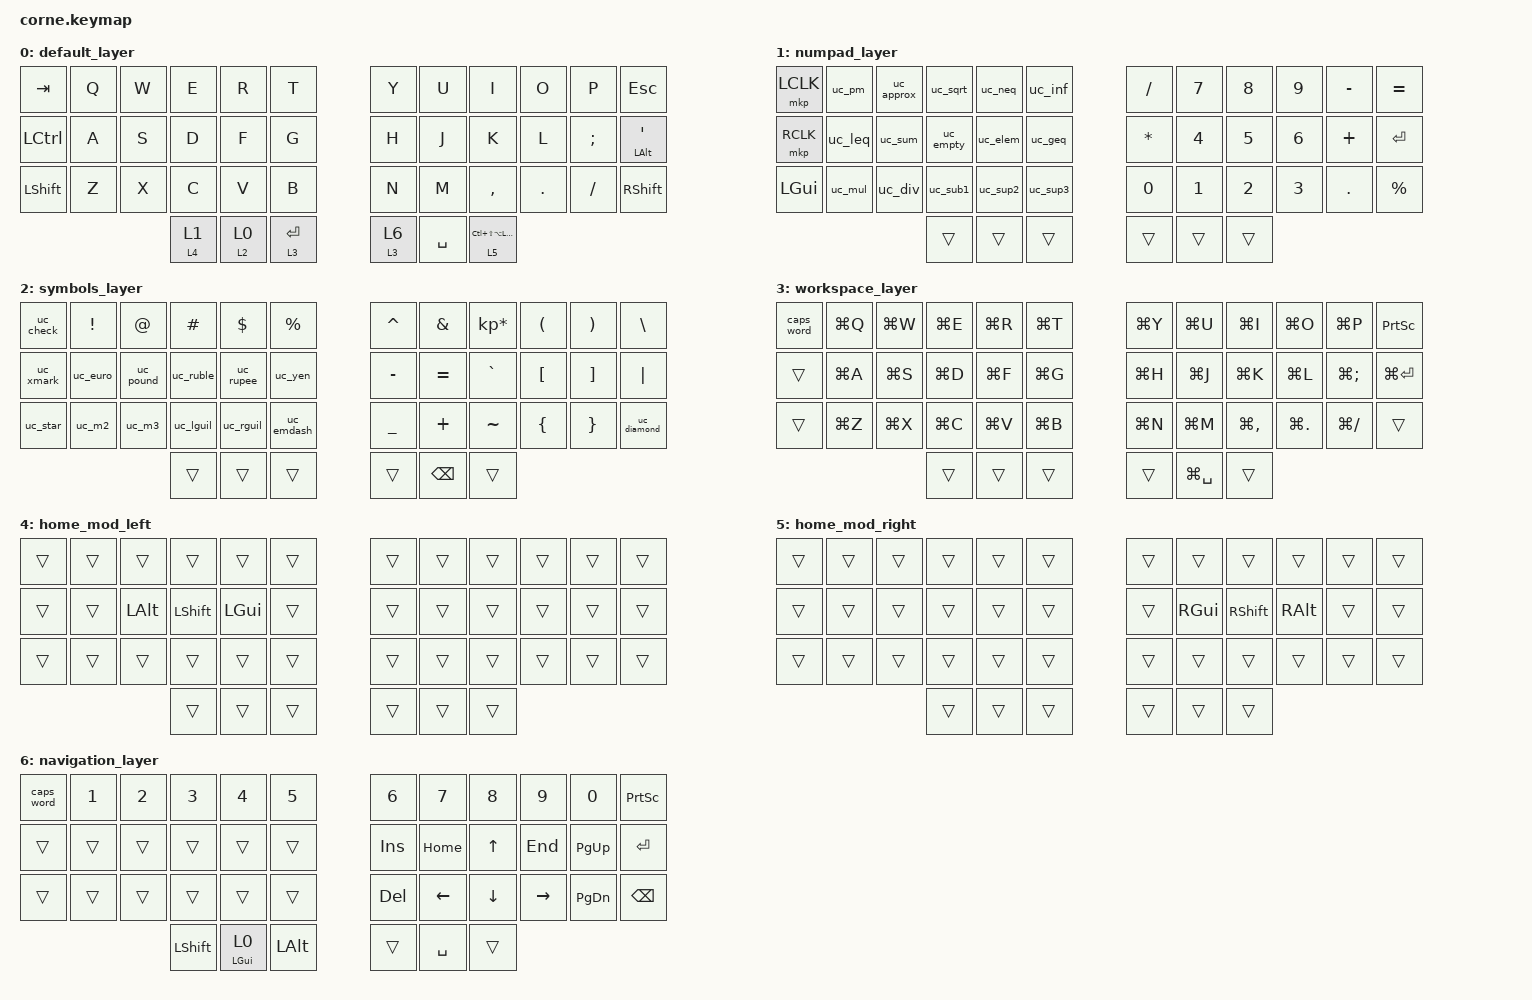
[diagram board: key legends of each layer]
/*
 * Copyright (c) 2020 The ZMK Contributors
 *
 * SPDX-License-Identifier: MIT
 */

#include <behaviors.dtsi>
#include <dt-bindings/zmk/keys.h>
#include <dt-bindings/zmk/pointing.h>

/ {
        behaviors {
          tp: tap_preferred {
            compatible = "zmk,behavior-hold-tap";
            label = "TAP_PREFERRED";
            #binding-cells = <2>;
            tapping-term-ms = <280>;
            flavor = "hold-preferred";
            bindings = <&kp>, <&kp>;
          };

          hm: homerow_mods {
            compatible = "zmk,behavior-hold-tap";
            label = "HOMEROW_MODS";
            #binding-cells = <2>;
            tapping-term-ms = <280>;
            quick-tap-ms = <175>;
            require-prior-idle-ms = <150>;
            flavor = "balanced";
            bindings = <&kp>, <&kp>;
          };

          lt_rev: layer_tap_reversed {
            compatible = "zmk,behavior-hold-tap";
            label = "LAYER_TAP_REVERSED";
            #binding-cells = <2>;
            tapping-term-ms = <280>;
            flavor = "hold-preferred";
            bindings = <&kp>, <&to>;  // hold=key, tap=toggle to layer
          };

          td_base: tap_dance_base {
            compatible = "zmk,behavior-hold-tap";
            label = "TAP_TO_BASE";
            #binding-cells = <2>;
            tapping-term-ms = <200>;
            flavor = "balanced";
            bindings = <&mo>, <&to>;  // hold=mo layer, tap=to layer
          };

          // Hold=Workspace layer, Tap=Sticky Hyper
          ht_ws_hyper: hold_ws_tap_hyper {
            compatible = "zmk,behavior-hold-tap";
            label = "HOLD_WS_TAP_HYPER";
            #binding-cells = <2>;
            tapping-term-ms = <200>;
            flavor = "balanced";
            bindings = <&mo>, <&sk>;
          };

          // Hold=home_mod layer, Tap=to layer (for outer thumbs)
          ht_hm_to: hold_homemod_tap_to {
            compatible = "zmk,behavior-hold-tap";
            label = "HOLD_HOMEMOD_TAP_TO";
            #binding-cells = <2>;
            tapping-term-ms = <200>;
            flavor = "balanced";
            bindings = <&mo>, <&to>;
          };

          // Hold=home_mod layer, Tap=sticky key (for right outer thumb)
          ht_hm_sk: hold_homemod_tap_sk {
            compatible = "zmk,behavior-hold-tap";
            label = "HOLD_HOMEMOD_TAP_SK";
            #binding-cells = <2>;
            tapping-term-ms = <200>;
            flavor = "balanced";
            bindings = <&mo>, <&sk>;
          };

          // Hold=Workspace layer, Tap=Toggle NAV
          ht_ws_nav: hold_ws_tap_nav {
            compatible = "zmk,behavior-hold-tap";
            label = "HOLD_WS_TAP_NAV";
            #binding-cells = <2>;
            tapping-term-ms = <200>;
            flavor = "balanced";
            bindings = <&mo>, <&tog>;
          };

          // Hold=number, Tap=letter (for workspace layer top row)
          ht_num: hold_number_tap_letter {
            compatible = "zmk,behavior-hold-tap";
            label = "HOLD_NUM_TAP_LETTER";
            #binding-cells = <2>;
            tapping-term-ms = <250>;
            flavor = "tap-preferred";
            bindings = <&kp>, <&kp>;  // hold=first param (number), tap=second param (letter)
          };

        };

        macros {
          ws1: workspace_1 {
            compatible = "zmk,behavior-macro";
            #binding-cells = <0>;
            bindings = <&macro_press &kp LGUI>
                     , <&macro_tap &kp N1>
                     , <&macro_release &kp LGUI>;
          };
          ws2: workspace_2 {
            compatible = "zmk,behavior-macro";
            #binding-cells = <0>;
            bindings = <&macro_press &kp LGUI>
                     , <&macro_tap &kp N2>
                     , <&macro_release &kp LGUI>;
          };
          ws3: workspace_3 {
            compatible = "zmk,behavior-macro";
            #binding-cells = <0>;
            bindings = <&macro_press &kp LGUI>
                     , <&macro_tap &kp N3>
                     , <&macro_release &kp LGUI>;
          };
          ws4: workspace_4 {
            compatible = "zmk,behavior-macro";
            #binding-cells = <0>;
            bindings = <&macro_press &kp LGUI>
                     , <&macro_tap &kp N4>
                     , <&macro_release &kp LGUI>;
          };
          ws5: workspace_5 {
            compatible = "zmk,behavior-macro";
            #binding-cells = <0>;
            bindings = <&macro_press &kp LGUI>
                     , <&macro_tap &kp N5>
                     , <&macro_release &kp LGUI>;
          };
          ws6: workspace_6 {
            compatible = "zmk,behavior-macro";
            #binding-cells = <0>;
            bindings = <&macro_press &kp LGUI>
                     , <&macro_tap &kp N6>
                     , <&macro_release &kp LGUI>;
          };
          ws7: workspace_7 {
            compatible = "zmk,behavior-macro";
            #binding-cells = <0>;
            bindings = <&macro_press &kp LGUI>
                     , <&macro_tap &kp N7>
                     , <&macro_release &kp LGUI>;
          };
          ws8: workspace_8 {
            compatible = "zmk,behavior-macro";
            #binding-cells = <0>;
            bindings = <&macro_press &kp LGUI>
                     , <&macro_tap &kp N8>
                     , <&macro_release &kp LGUI>;
          };
          ws9: workspace_9 {
            compatible = "zmk,behavior-macro";
            #binding-cells = <0>;
            bindings = <&macro_press &kp LGUI>
                     , <&macro_tap &kp N9>
                     , <&macro_release &kp LGUI>;
          };
          ws0: workspace_0 {
            compatible = "zmk,behavior-macro";
            #binding-cells = <0>;
            bindings = <&macro_press &kp LGUI>
                     , <&macro_tap &kp N0>
                     , <&macro_release &kp LGUI>;
          };

          // Unicode macros (Ctrl+Shift+U + hex + Space) for Linux
          // Math symbols for numpad layer
          uc_pm: unicode_plusminus { // ±
            compatible = "zmk,behavior-macro";
            #binding-cells = <0>;
            wait-ms = <30>;
            tap-ms = <30>;
            bindings = <&macro_tap &kp LC(LS(U)) &kp N0 &kp N0 &kp B &kp N1 &kp SPACE>;
          };
          uc_approx: unicode_approx { // ≈
            compatible = "zmk,behavior-macro";
            #binding-cells = <0>;
            wait-ms = <30>;
            tap-ms = <30>;
            bindings = <&macro_tap &kp LC(LS(U)) &kp N2 &kp N2 &kp N4 &kp N8 &kp SPACE>;
          };
          uc_neq: unicode_notequal { // ≠
            compatible = "zmk,behavior-macro";
            #binding-cells = <0>;
            wait-ms = <30>;
            tap-ms = <30>;
            bindings = <&macro_tap &kp LC(LS(U)) &kp N2 &kp N2 &kp N6 &kp N0 &kp SPACE>;
          };
          uc_inf: unicode_infinity { // ∞
            compatible = "zmk,behavior-macro";
            #binding-cells = <0>;
            wait-ms = <30>;
            tap-ms = <30>;
            bindings = <&macro_tap &kp LC(LS(U)) &kp N2 &kp N2 &kp N1 &kp E &kp SPACE>;
          };
          uc_leq: unicode_lessequal { // ≤
            compatible = "zmk,behavior-macro";
            #binding-cells = <0>;
            wait-ms = <30>;
            tap-ms = <30>;
            bindings = <&macro_tap &kp LC(LS(U)) &kp N2 &kp N2 &kp N6 &kp N4 &kp SPACE>;
          };
          uc_geq: unicode_greaterequal { // ≥
            compatible = "zmk,behavior-macro";
            #binding-cells = <0>;
            wait-ms = <30>;
            tap-ms = <30>;
            bindings = <&macro_tap &kp LC(LS(U)) &kp N2 &kp N2 &kp N6 &kp N5 &kp SPACE>;
          };
          uc_mul: unicode_multiply { // ×
            compatible = "zmk,behavior-macro";
            #binding-cells = <0>;
            wait-ms = <30>;
            tap-ms = <30>;
            bindings = <&macro_tap &kp LC(LS(U)) &kp N0 &kp N0 &kp D &kp N7 &kp SPACE>;
          };
          uc_div: unicode_divide { // ÷
            compatible = "zmk,behavior-macro";
            #binding-cells = <0>;
            wait-ms = <30>;
            tap-ms = <30>;
            bindings = <&macro_tap &kp LC(LS(U)) &kp N0 &kp N0 &kp F &kp N7 &kp SPACE>;
          };
          uc_sub1: unicode_subscript1 { // ₁
            compatible = "zmk,behavior-macro";
            #binding-cells = <0>;
            wait-ms = <30>;
            tap-ms = <30>;
            bindings = <&macro_tap &kp LC(LS(U)) &kp N2 &kp N0 &kp N8 &kp N1 &kp SPACE>;
          };
          uc_sup2: unicode_superscript2 { // ²
            compatible = "zmk,behavior-macro";
            #binding-cells = <0>;
            wait-ms = <30>;
            tap-ms = <30>;
            bindings = <&macro_tap &kp LC(LS(U)) &kp N0 &kp N0 &kp B &kp N2 &kp SPACE>;
          };
          uc_sup3: unicode_superscript3 { // ³
            compatible = "zmk,behavior-macro";
            #binding-cells = <0>;
            wait-ms = <30>;
            tap-ms = <30>;
            bindings = <&macro_tap &kp LC(LS(U)) &kp N0 &kp N0 &kp B &kp N3 &kp SPACE>;
          };
          uc_sqrt: unicode_squareroot { // √
            compatible = "zmk,behavior-macro";
            #binding-cells = <0>;
            wait-ms = <30>;
            tap-ms = <30>;
            bindings = <&macro_tap &kp LC(LS(U)) &kp N2 &kp N2 &kp N1 &kp A &kp SPACE>;
          };
          uc_sum: unicode_sum { // ∑
            compatible = "zmk,behavior-macro";
            #binding-cells = <0>;
            wait-ms = <30>;
            tap-ms = <30>;
            bindings = <&macro_tap &kp LC(LS(U)) &kp N2 &kp N2 &kp N1 &kp N1 &kp SPACE>;
          };
          uc_empty: unicode_emptyset { // ∅
            compatible = "zmk,behavior-macro";
            #binding-cells = <0>;
            wait-ms = <30>;
            tap-ms = <30>;
            bindings = <&macro_tap &kp LC(LS(U)) &kp N2 &kp N2 &kp N0 &kp N5 &kp SPACE>;
          };
          uc_elem: unicode_elementof { // ∈
            compatible = "zmk,behavior-macro";
            #binding-cells = <0>;
            wait-ms = <30>;
            tap-ms = <30>;
            bindings = <&macro_tap &kp LC(LS(U)) &kp N2 &kp N2 &kp N0 &kp N8 &kp SPACE>;
          };

          // Currency symbols for symbols layer
          uc_euro: unicode_euro { // €
            compatible = "zmk,behavior-macro";
            #binding-cells = <0>;
            wait-ms = <30>;
            tap-ms = <30>;
            bindings = <&macro_tap &kp LC(LS(U)) &kp N2 &kp N0 &kp A &kp C &kp SPACE>;
          };
          uc_pound: unicode_pound { // £
            compatible = "zmk,behavior-macro";
            #binding-cells = <0>;
            wait-ms = <30>;
            tap-ms = <30>;
            bindings = <&macro_tap &kp LC(LS(U)) &kp N0 &kp N0 &kp A &kp N3 &kp SPACE>;
          };
          uc_ruble: unicode_ruble { // ₽
            compatible = "zmk,behavior-macro";
            #binding-cells = <0>;
            wait-ms = <30>;
            tap-ms = <30>;
            bindings = <&macro_tap &kp LC(LS(U)) &kp N2 &kp N0 &kp B &kp D &kp SPACE>;
          };
          uc_rupee: unicode_rupee { // ₹
            compatible = "zmk,behavior-macro";
            #binding-cells = <0>;
            wait-ms = <30>;
            tap-ms = <30>;
            bindings = <&macro_tap &kp LC(LS(U)) &kp N2 &kp N0 &kp B &kp N9 &kp SPACE>;
          };
          uc_yen: unicode_yen { // ¥
            compatible = "zmk,behavior-macro";
            #binding-cells = <0>;
            wait-ms = <30>;
            tap-ms = <30>;
            bindings = <&macro_tap &kp LC(LS(U)) &kp N0 &kp N0 &kp A &kp N5 &kp SPACE>;
          };
          uc_m2: unicode_sqmeter { // m²
            compatible = "zmk,behavior-macro";
            #binding-cells = <0>;
            wait-ms = <30>;
            tap-ms = <30>;
            bindings = <&macro_tap &kp M &kp LC(LS(U)) &kp N0 &kp N0 &kp B &kp N2 &kp SPACE>;
          };
          uc_m3: unicode_cubicmeter { // m³
            compatible = "zmk,behavior-macro";
            #binding-cells = <0>;
            wait-ms = <30>;
            tap-ms = <30>;
            bindings = <&macro_tap &kp M &kp LC(LS(U)) &kp N0 &kp N0 &kp B &kp N3 &kp SPACE>;
          };
          uc_lguil: unicode_leftguillemet { // «
            compatible = "zmk,behavior-macro";
            #binding-cells = <0>;
            wait-ms = <30>;
            tap-ms = <30>;
            bindings = <&macro_tap &kp LC(LS(U)) &kp N0 &kp N0 &kp A &kp B &kp SPACE>;
          };
          uc_rguil: unicode_rightguillemet { // »
            compatible = "zmk,behavior-macro";
            #binding-cells = <0>;
            wait-ms = <30>;
            tap-ms = <30>;
            bindings = <&macro_tap &kp LC(LS(U)) &kp N0 &kp N0 &kp B &kp B &kp SPACE>;
          };
          uc_emdash: unicode_emdash { // —
            compatible = "zmk,behavior-macro";
            #binding-cells = <0>;
            wait-ms = <30>;
            tap-ms = <30>;
            bindings = <&macro_tap &kp LC(LS(U)) &kp N2 &kp N0 &kp N1 &kp N4 &kp SPACE>;
          };
          uc_numero: unicode_numero { // №
            compatible = "zmk,behavior-macro";
            #binding-cells = <0>;
            wait-ms = <30>;
            tap-ms = <30>;
            bindings = <&macro_tap &kp LC(LS(U)) &kp N2 &kp N1 &kp N1 &kp N6 &kp SPACE>;
          };
          uc_ellipsis: unicode_ellipsis { // …
            compatible = "zmk,behavior-macro";
            #binding-cells = <0>;
            wait-ms = <30>;
            tap-ms = <30>;
            bindings = <&macro_tap &kp LC(LS(U)) &kp N2 &kp N0 &kp N2 &kp N6 &kp SPACE>;
          };
          uc_degree: unicode_degree { // °
            compatible = "zmk,behavior-macro";
            #binding-cells = <0>;
            wait-ms = <30>;
            tap-ms = <30>;
            bindings = <&macro_tap &kp LC(LS(U)) &kp N0 &kp N0 &kp B &kp N0 &kp SPACE>;
          };
          uc_check: unicode_checkmark { // ✓
            compatible = "zmk,behavior-macro";
            #binding-cells = <0>;
            wait-ms = <30>;
            tap-ms = <30>;
            bindings = <&macro_tap &kp LC(LS(U)) &kp N2 &kp N7 &kp N1 &kp N3 &kp SPACE>;
          };
          uc_xmark: unicode_xmark { // ✗
            compatible = "zmk,behavior-macro";
            #binding-cells = <0>;
            wait-ms = <30>;
            tap-ms = <30>;
            bindings = <&macro_tap &kp LC(LS(U)) &kp N2 &kp N7 &kp N1 &kp N7 &kp SPACE>;
          };
          uc_star: unicode_star { // ★
            compatible = "zmk,behavior-macro";
            #binding-cells = <0>;
            wait-ms = <30>;
            tap-ms = <30>;
            bindings = <&macro_tap &kp LC(LS(U)) &kp N2 &kp N6 &kp N0 &kp N5 &kp SPACE>;
          };
          uc_diamond: unicode_diamond { // ♦
            compatible = "zmk,behavior-macro";
            #binding-cells = <0>;
            wait-ms = <30>;
            tap-ms = <30>;
            bindings = <&macro_tap &kp LC(LS(U)) &kp N2 &kp N6 &kp N6 &kp N6 &kp SPACE>;
          };
        };

        keymap {
                compatible = "zmk,keymap";

// Layer order (higher number = higher priority):
// 0: default_layer (English QWERTY)
// 1: numpad_layer
// 2: symbols_layer
// 3: workspace_layer (QWERTY letters)
// 4: home_mod_left (hold left outer thumb)
// 5: home_mod_right (hold right outer thumb)
// 6: navigation_layer (hold right inner thumb on workspace)

                default_layer {
// -----------------------------------------------------------------------------------------
// QWERTY layout
// | TAB  |  Q  |  W  |  E  |  R  |  T  |   |  Y  |  U  |  I  |  O  |  P  | BSPC  |
// | CTRL |  A  |  S  |  D  |  F  |  G  |   |  H  |  J  |  K  |  L  |  ;  | '/ALT |
// | SHFT |  Z  |  X  |  C  |  V  |  B  |   |  N  |  M  |  ,  |  .  |  /  | SHFT  |
//                    |NPAD |L2/L0| RET |   | ESC | SPC |HYPER|
//                    |/HML |     |/WS  |   |/WS  |     |/HMR |
                        bindings = <
   &kp TAB   &kp Q &kp W &kp E &kp R &kp T   &kp Y &kp U &kp I     &kp O   &kp P    &kp ESC
   &kp LCTRL &kp A &kp S &kp D &kp F &kp G   &kp H &kp J &kp K     &kp L   &kp SEMI &mt LALT SQT
   &kp LSHFT &kp Z &kp X &kp C &kp V &kp B   &kp N &kp M &kp COMMA &kp DOT &kp FSLH &kp RSHFT
               &ht_hm_to 4 1 &td_base 2 0 &lt 3 RET   &ht_ws_nav 3 6 &kp SPACE &ht_hm_sk 5 LC(LS(LA(LGUI)))
                        >;
                };

                numpad_layer {
// -----------------------------------------------------------------------------------------
// |LCLK |  ±  |  ≈  |  √  |  ≠  |  ∞  |   |  /  |  7  |  8  |  9  |  -  |  =  |
// |RCLK |  ≤  |  ∑  |  ∅  |  ∈  |  ≥  |   |  *  |  4  |  5  |  6  |  +  | RET |
// |LGUI |  ×  |  ÷  |  ₁  |  ²  |  ³  |   |  0  |  1  |  2  |  3  |  .  |  %  |
//                   |     |     |     |   |     |     |     |
                        bindings = <
   &mkp LCLK &uc_pm &uc_approx &uc_sqrt &uc_neq &uc_inf    &kp FSLH &kp N7 &kp N8   &kp N9 &kp MINUS &kp EQUAL
   &mkp RCLK &uc_leq &uc_sum &uc_empty &uc_elem &uc_geq    &kp STAR &kp N4 &kp N5   &kp N6 &kp PLUS  &kp RET
   &kp LGUI &uc_mul &uc_div &uc_sub1 &uc_sup2 &uc_sup3    &kp N0   &kp N1 &kp N2   &kp N3 &kp DOT   &kp PRCNT
                        &trans &trans &trans    &trans   &trans &trans
                        >;
                };

                symbols_layer {
// -----------------------------------------------------------------------------------------
// |  ✓   |  !  |  @  |  #  |  $  |    %     |   |  ^  |  &  |  *  |  (  |  )  |   \   |
// |  ✗   |  €  |  £  |  ₽  |  ₹  |    ¥     |   |  -  |  =  |  `  |  [  |  ]  |  "|"  |
// |  ★   |  m² |  m³ |  «  |  »  |    —     |   |  _  |  +  |  ~  |  {  |  }  |   ♦   |
//                     |     |     |         |   |             |      |    |
                        bindings = <
   &uc_check &kp EXCL &kp AT &kp HASH &kp DLLR &kp PRCNT       &kp CARET  &kp AMPS  &kp KP_MULTIPLY &kp LPAR &kp RPAR &kp BSLH
   &uc_xmark &uc_euro &uc_pound &uc_ruble &uc_rupee &uc_yen   &kp MINUS  &kp EQUAL &kp GRAVE       &kp LBKT &kp RBKT &kp PIPE
   &uc_star  &uc_m2   &uc_m3 &uc_lguil &uc_rguil &uc_emdash   &kp UNDER  &kp PLUS  &kp TILDE       &kp LBRC &kp RBRC &uc_diamond
                         &trans &trans  &trans     &trans &kp BSPC  &trans
                        >;
                };

                workspace_layer {
// -----------------------------------------------------------------------------------------
// GUI + QWERTY (all keys send GUI+key)
// |CPWD |GUI+Q|GUI+W|GUI+E|GUI+R|GUI+T|   |GUI+Y|GUI+U|GUI+I|GUI+O|GUI+P|PSCR |
// |     |GUI+A|GUI+S|GUI+D|GUI+F|GUI+G|   |GUI+H|GUI+J|GUI+K|GUI+L|GUI+;| RET |
// |     |GUI+Z|GUI+X|GUI+C|GUI+V|GUI+B|   |GUI+N|GUI+M|GUI+,|GUI+.|GUI+/|     |
//                   |     |     |     |   |     |     |     |
                        bindings = <
   &caps_word   &kp LG(Q) &kp LG(W) &kp LG(E) &kp LG(R) &kp LG(T)   &kp LG(Y) &kp LG(U) &kp LG(I)     &kp LG(O)   &kp LG(P)    &kp PSCRN
   &trans       &kp LG(A) &kp LG(S) &kp LG(D) &kp LG(F) &kp LG(G)   &kp LG(H) &kp LG(J) &kp LG(K)     &kp LG(L)   &kp LG(SEMI) &kp LG(RET)
   &trans       &kp LG(Z) &kp LG(X) &kp LG(C) &kp LG(V) &kp LG(B)   &kp LG(N) &kp LG(M) &kp LG(COMMA) &kp LG(DOT) &kp LG(FSLH) &trans
                        &trans &trans &trans    &trans   &kp LG(SPACE) &trans
                        >;
                };

                home_mod_left {
// -----------------------------------------------------------------------------------------
// Home row mods on left side (activated by holding left outer thumb)
// |     |     |     |     |     |     |   |     |     |     |     |     |     |
// |     |     | ALT |SHIFT| GUI |     |   |     |     |     |     |     |     |
// |     |     |     |     |     |     |   |     |     |     |     |     |     |
//                   |     |     |     |   |     |     |     |
                        bindings = <
   &trans &trans &trans   &trans    &trans   &trans    &trans &trans &trans &trans &trans &trans
   &trans &trans &kp LALT &kp LSHFT &kp LGUI &trans    &trans &trans &trans &trans &trans &trans
   &trans &trans &trans   &trans    &trans   &trans    &trans &trans &trans &trans &trans &trans
                        &trans &trans &trans    &trans &trans &trans
                        >;
                };

                home_mod_right {
// -----------------------------------------------------------------------------------------
// Home row mods on right side (activated by holding right outer thumb)
// |     |     |     |     |     |     |   |     |     |     |     |     |     |
// |     |     |     |     |     |     |   |     | GUI |SHIFT| ALT |     |     |
// |     |     |     |     |     |     |   |     |     |     |     |     |     |
//                   |     |     |     |   |     |     |     |
                        bindings = <
   &trans &trans &trans &trans &trans &trans    &trans &trans   &trans    &trans   &trans &trans
   &trans &trans &trans &trans &trans &trans    &trans &kp RGUI &kp RSHFT &kp RALT &trans &trans
   &trans &trans &trans &trans &trans &trans    &trans &trans   &trans    &trans   &trans &trans
                        &trans &trans &trans    &trans &trans &trans
                        >;
                };

                navigation_layer {
// -----------------------------------------------------------------------------------------
// Navigation layer (toggle right inner thumb)
// |CPWD |  1  |  2  |  3  |  4  |  5  |   |  6  |  7  |  8  |  9  |  0  |PSCR |
// |     |     |     |     |     |     |   | INS |Home |  UP | End |PgUp | RET |
// |     |     |     |     |     |     |   | DEL |LEFT |DOWN |RGHT |PgDn |BSPC |
//                   |SHFT |L0/GU| ALT |   |     | SPC |     |
                        bindings = <
   &caps_word &kp N1 &kp N2 &kp N3 &kp N4 &kp N5    &kp N6  &kp N7   &kp N8   &kp N9    &kp N0    &kp PSCRN
   &trans &trans &trans &trans &trans &trans    &kp INS &kp HOME &kp UP   &kp END   &kp PG_UP &kp RET
   &trans &trans &trans &trans &trans &trans    &kp DEL &kp LEFT &kp DOWN &kp RIGHT &kp PG_DN &kp BSPC
                        &kp LSHFT &lt_rev LGUI 0 &kp LALT    &trans  &kp SPACE &trans
                        >;
                };

        };

};
